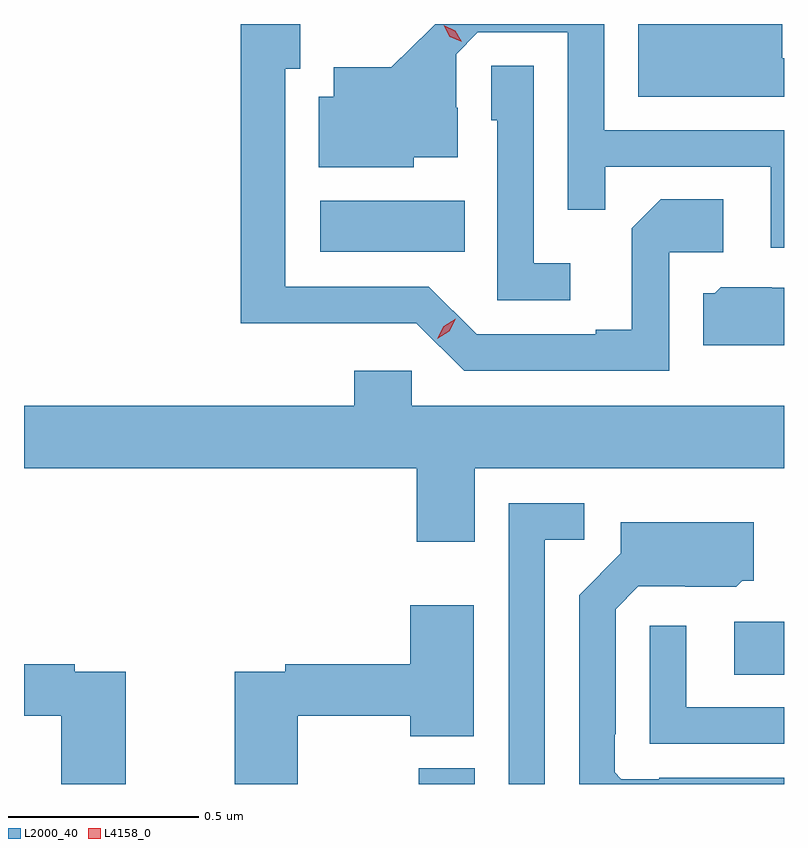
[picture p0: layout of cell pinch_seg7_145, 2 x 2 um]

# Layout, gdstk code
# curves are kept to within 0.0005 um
import gdstk
lib = gdstk.Library(unit=1e-6, precision=1e-09)
def R(c, l, rs):  # rectangles x0, y0, x1, y1
    for r in rs: c.add(gdstk.rectangle(r[:2], r[2:], *l))
def P(c, l, *ps):  # polygons
    for p in ps: c.add(gdstk.Polygon(p, *l))
L2000_40 = (2000, 40)
L4158_0 = (4158, 0)

pinch_seg7_145 = lib.new_cell('pinch_seg7_145')
R(pinch_seg7_145, L2000_40, [(1069.147,1005.113,1069.294,1005.154), (1069.977,1005.4,1070.108,1005.54), (1068.888,1006.514,1069.268,1006.648)])
P(pinch_seg7_145, L2000_40, [(1070.108,1007.023),(1070.104,1007.023),(1070.104,1007.113),(1069.724,1007.113),(1069.724,1006.922),(1070.108,1006.922)],
  [(1069.806,1006.512),(1069.948,1006.512),(1069.948,1006.652),(1069.783,1006.652),(1069.707,1006.576),(1069.707,1006.309),(1069.613,1006.309),(1069.613,1006.296),(1069.299,1006.296),(1069.173,1006.422),(1068.796,1006.422),(1068.796,1006.995),(1068.835,1006.995),(1068.835,1007.113),(1068.678,1007.113),(1068.678,1006.325),(1068.918,1006.325),(1068.918,1006.326),(1069.14,1006.326),(1069.266,1006.2),(1069.806,1006.2)],
  [(1070.108,1006.833),(1069.635,1006.833),(1069.635,1007.113),(1069.19,1007.113),(1069.075,1006.999),(1068.923,1006.999),(1068.923,1006.921),(1068.884,1006.921),(1068.884,1006.736),(1069.134,1006.736),(1069.134,1006.763),(1069.249,1006.763),(1069.249,1006.892),(1069.245,1006.892),(1069.245,1007.034),(1069.302,1007.091),(1069.539,1007.091),(1069.539,1006.624),(1069.637,1006.624),(1069.637,1006.737),(1070.073,1006.737),(1070.073,1006.524),(1070.108,1006.524)],
  [(1069.546,1006.483),(1069.449,1006.483),(1069.449,1007.003),(1069.338,1007.003),(1069.338,1006.86),(1069.353,1006.86),(1069.353,1006.386),(1069.546,1006.386)],
  [(1070.108,1006.419),(1070.076,1006.419),(1070.076,1006.42),(1069.942,1006.42),(1069.926,1006.404),(1069.895,1006.404),(1069.895,1006.268),(1070.108,1006.268)],
  [(1069.294,1005.944),(1070.108,1005.944),(1070.108,1006.108),(1069.128,1006.108),(1069.128,1006.201),(1068.977,1006.201),(1068.977,1006.108),(1068.108,1006.108),(1068.108,1005.944),(1069.142,1005.944),(1069.142,1005.75),(1069.294,1005.75)],
  [(1069.479,1005.756),(1069.582,1005.756),(1069.582,1005.852),(1069.383,1005.852),(1069.383,1005.113),(1069.479,1005.113)],
  [(1070.108,1005.129),(1069.78,1005.129),(1069.78,1005.126),(1069.68,1005.126),(1069.662,1005.144),(1069.662,1005.244),(1069.665,1005.244),(1069.665,1005.573),(1069.725,1005.633),(1069.848,1005.633),(1069.848,1005.632),(1069.982,1005.632),(1069.998,1005.648),(1070.029,1005.648),(1070.029,1005.802),(1069.679,1005.802),(1069.679,1005.72),(1069.569,1005.61),(1069.569,1005.113),(1070.108,1005.113)],
  [(1068.828,1005.292),(1069.124,1005.292),(1069.124,1005.239),(1069.291,1005.239),(1069.291,1005.583),(1069.124,1005.583),(1069.124,1005.428),(1068.796,1005.428),(1068.796,1005.408),(1068.662,1005.408),(1068.662,1005.113),(1068.828,1005.113)],
  [(1070.108,1005.315),(1069.851,1005.315),(1069.851,1005.529),(1069.755,1005.529),(1069.755,1005.219),(1070.108,1005.219)],
  [(1068.376,1005.408),(1068.242,1005.408),(1068.242,1005.428),(1068.108,1005.428),(1068.108,1005.292),(1068.206,1005.292),(1068.206,1005.113),(1068.376,1005.113)])
P(pinch_seg7_145, L4158_0, [(1069.26,1007.066),(1069.229,1007.08),(1069.212,1007.11),(1069.212,1007.11),(1069.212,1007.11),(1069.243,1007.095),(1069.26,1007.066),(1069.26,1007.066)],
  [(1069.195,1006.285),(1069.195,1006.285),(1069.213,1006.318),(1069.244,1006.337),(1069.244,1006.337),(1069.244,1006.337),(1069.227,1006.304),(1069.196,1006.285)])

lib.write_gds('pinch_seg7_145.gds')
